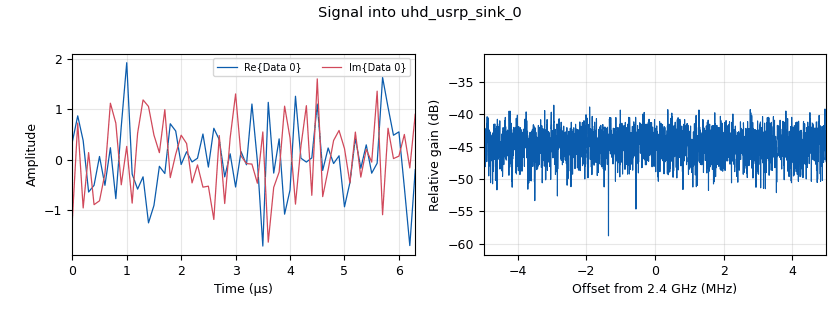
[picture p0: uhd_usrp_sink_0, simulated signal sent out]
<?xml version='1.0' encoding='utf-8'?>
<?grc format='1' created='3.7.9'?>
<flow_graph>
<block>
<key>options</key>
<param><key>id</key><value>noise_source</value></param>
<param><key>category</key><value>Custom</value></param>
<param><key>generate_options</key><value>qt_gui</value></param>
</block>
<block>
<key>variable_qtgui_range</key>
<param><key>id</key><value>frequency</value></param>
<param><key>value</key><value>2400e6</value></param>
<param><key>orient</key><value>Qt.Horizontal</value></param>
<param><key>start</key><value>50e6</value></param>
<param><key>step</key><value>1e6</value></param>
<param><key>stop</key><value>6000e6</value></param>
</block>
<block>
<key>variable_qtgui_range</key>
<param><key>id</key><value>gain</value></param>
<param><key>value</key><value>60</value></param>
<param><key>orient</key><value>Qt.Horizontal</value></param>
<param><key>start</key><value>0</value></param>
<param><key>step</key><value>1</value></param>
<param><key>stop</key><value>100</value></param>
</block>
<block>
<key>variable</key>
<param><key>id</key><value>ip_address</value></param>
<param><key>_enabled</key><value>0</value></param>
<param><key>value</key><value>"192.168.40.2"</value></param>
</block>
<block>
<key>variable</key>
<param><key>id</key><value>sample_rate</value></param>
<param><key>value</key><value>10e6</value></param>
</block>
<block>
<key>analog_noise_source_x</key>
<param><key>id</key><value>analog_noise_source_x_0</value></param>
<param><key>amp</key><value>1</value></param>
<param><key>noise_type</key><value>analog.GR_GAUSSIAN</value></param>
<param><key>type</key><value>complex</value></param>
<param><key>seed</key><value>0</value></param>
</block>
<block>
<key>analog_sig_source_x</key>
<param><key>id</key><value>analog_sig_source_x_0</value></param>
<param><key>amp</key><value>1</value></param>
<param><key>_enabled</key><value>0</value></param>
<param><key>freq</key><value>1000</value></param>
<param><key>offset</key><value>0</value></param>
<param><key>type</key><value>complex</value></param>
<param><key>samp_rate</key><value>sample_rate</value></param>
<param><key>waveform</key><value>analog.GR_COS_WAVE</value></param>
</block>
<block>
<key>osmosdr_sink</key>
<param><key>id</key><value>osmosdr_sink_0</value></param>
<param><key>bb_gain0</key><value>gain</value></param>
<param><key>freq0</key><value>frequency</value></param>
<param><key>if_gain0</key><value>20</value></param>
<param><key>gain0</key><value>10</value></param>
<param><key>args</key><value>hackrf=0</value></param>
<param><key>_enabled</key><value>0</value></param>
<param><key>type</key><value>fc32</value></param>
<param><key>sample_rate</key><value>sample_rate</value></param>
<param><key>sync</key><value></value></param>
</block>
<block>
<key>uhd_usrp_sink</key>
<param><key>id</key><value>uhd_usrp_sink_0</value></param>
<param><key>ant0</key><value>TX/RX</value></param>
<param><key>center_freq0</key><value>frequency</value></param>
<param><key>norm_gain0</key><value>False</value></param>
<param><key>gain0</key><value>gain</value></param>
<param><key>clock_rate</key><value>0.0</value></param>
<param><key>dev_args</key><value>""</value></param>
<param><key>type</key><value>fc32</value></param>
<param><key>sd_spec0</key><value>"A:A"</value></param>
<param><key>samp_rate</key><value>sample_rate</value></param>
<param><key>hide_cmd_port</key><value>False</value></param>
<param><key>sync</key><value></value></param>
<param><key>len_tag_name</key><value></value></param>
</block>
<block>
<key>uhd_usrp_sink</key>
<param><key>id</key><value>uhd_usrp_sink_0_0</value></param>
<param><key>ant0</key><value>TX/RX</value></param>
<param><key>center_freq0</key><value>frequency</value></param>
<param><key>norm_gain0</key><value>False</value></param>
<param><key>gain0</key><value>gain</value></param>
<param><key>clock_rate</key><value>0.0</value></param>
<param><key>dev_addr</key><value>"addr=" + ip_address</value></param>
<param><key>dev_args</key><value>""</value></param>
<param><key>_enabled</key><value>0</value></param>
<param><key>type</key><value>fc32</value></param>
<param><key>sd_spec0</key><value>"A:0"</value></param>
<param><key>samp_rate</key><value>sample_rate</value></param>
<param><key>hide_cmd_port</key><value>False</value></param>
<param><key>sync</key><value></value></param>
<param><key>len_tag_name</key><value></value></param>
</block>
<connection><source_block_id>analog_noise_source_x_0</source_block_id><sink_block_id>osmosdr_sink_0</sink_block_id><source_key>0</source_key><sink_key>0</sink_key></connection>
<connection><source_block_id>analog_noise_source_x_0</source_block_id><sink_block_id>uhd_usrp_sink_0</sink_block_id><source_key>0</source_key><sink_key>0</sink_key></connection>
<connection><source_block_id>analog_noise_source_x_0</source_block_id><sink_block_id>uhd_usrp_sink_0_0</sink_block_id><source_key>0</source_key><sink_key>0</sink_key></connection>
<connection><source_block_id>analog_sig_source_x_0</source_block_id><sink_block_id>osmosdr_sink_0</sink_block_id><source_key>0</source_key><sink_key>0</sink_key></connection>
<connection><source_block_id>analog_sig_source_x_0</source_block_id><sink_block_id>uhd_usrp_sink_0</sink_block_id><source_key>0</source_key><sink_key>0</sink_key></connection>
<connection><source_block_id>analog_sig_source_x_0</source_block_id><sink_block_id>uhd_usrp_sink_0_0</sink_block_id><source_key>0</source_key><sink_key>0</sink_key></connection>
</flow_graph>
